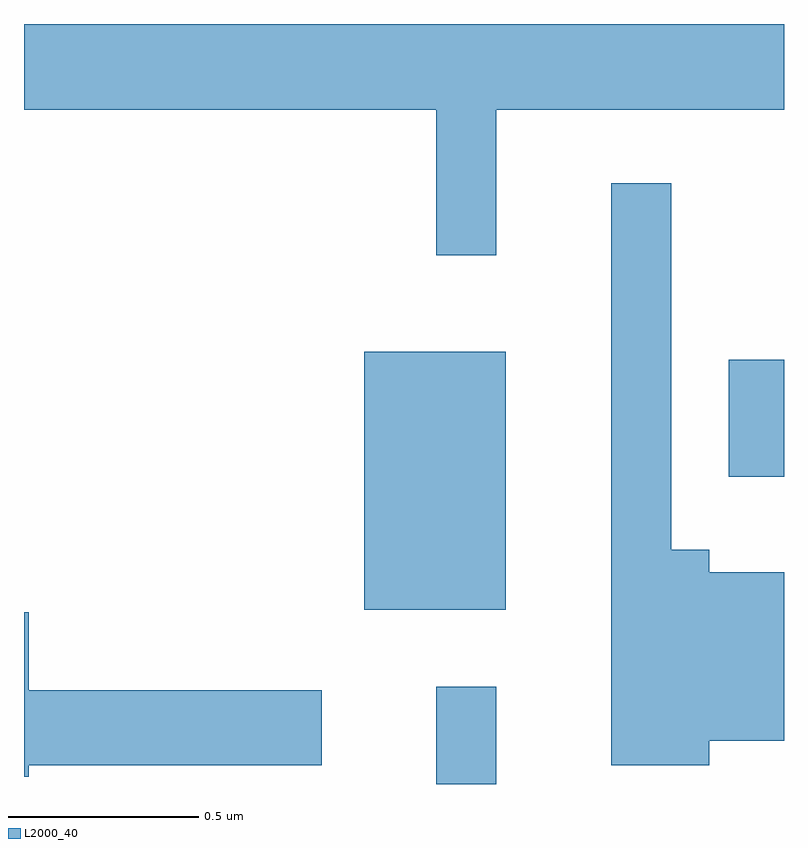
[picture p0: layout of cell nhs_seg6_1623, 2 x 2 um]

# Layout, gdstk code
import gdstk
lib = gdstk.Library(unit=1e-6, precision=1e-09)
def R(c, l, rs):  # rectangles x0, y0, x1, y1
    for r in rs: c.add(gdstk.rectangle(r[:2], r[2:], *l))
def P(c, l, *ps):  # polygons
    for p in ps: c.add(gdstk.Polygon(p, *l))
L2000_40 = (2000, 40)

nhs_seg6_1623 = lib.new_cell('nhs_seg6_1623')
R(nhs_seg6_1623, L2000_40, [(197.696,1648.162,197.854,1648.418), (197.506,1648.621,197.879,1649.299), (198.466,1648.971,198.611,1649.279)])
P(nhs_seg6_1623, L2000_40, [(197.854,1649.936),(198.611,1649.936),(198.611,1650.162),(196.611,1650.162),(196.611,1649.936),(197.696,1649.936),(197.696,1649.553),(197.854,1649.553)],
  [(198.414,1648.276),(198.611,1648.276),(198.611,1648.719),(198.414,1648.719),(198.414,1648.779),(198.314,1648.779),(198.314,1649.743),(198.156,1649.743),(198.156,1648.211),(198.414,1648.211)],
  [(196.624,1648.211),(197.394,1648.211),(197.394,1648.409),(196.624,1648.409),(196.624,1648.614),(196.611,1648.614),(196.611,1648.181),(196.624,1648.181)])

lib.write_gds('nhs_seg6_1623.gds')
